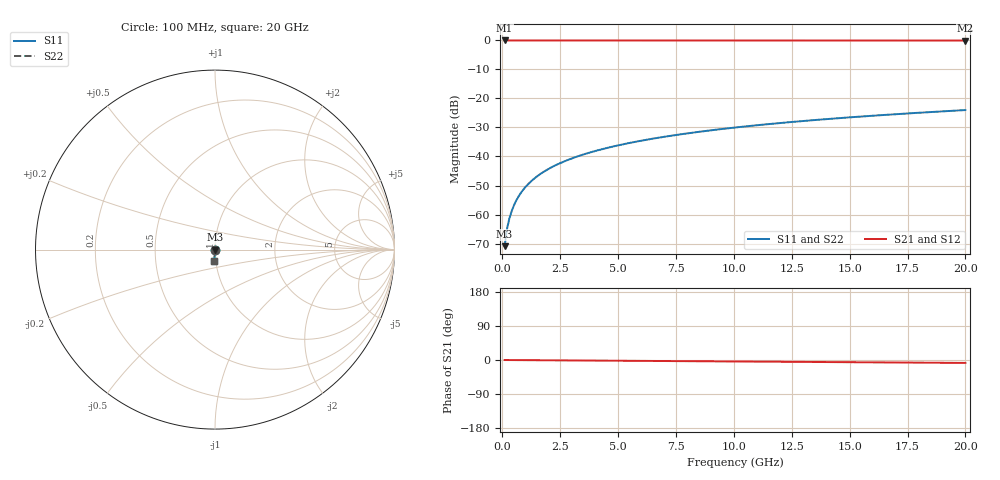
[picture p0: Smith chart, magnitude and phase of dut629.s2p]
! Touchstone file exported from HFSS 2026.1.0
!  File:  C:/ffzhzh/LocalFiles/Ansys_Project_Files/temp_train_TSV_629_1783026151_51716.aedt
!  Generated:  05:04:05 AM Jul  3, 2026
!  Design:  TSV
!  Project:  temp_train_TSV_629_1783026151_51716
! Variables:
!  h_bsmrdl = 2um
!  h_ox = 20um
!  h_rdl = 5um
!  h_sub = 71.3um
!  h_tmrdl = 5um
!  h_tsv = 71.3um
!  h_via = 3um
!  l_bsmrdl = 300um
!  l_sub = 426.28um
!  l_tmrdl = 200um
!  m_sub = 200um
!  pitch = 35.35um
!  r_tsv = 13.14um
!  s_tmrdl = 10um
!  w_bsmrdl = 18um
!  w_sub = 500um
!  w_tmrdl = 12um
!  x_tsv_center1 = 206um
!  x_tsv_center2 = 524um
!  x_tsv_center3 = 736um
!  x_tsv_center4 = 1054um
!  x_tsv_center5 = 1266um
!  x_tsv_center6 = 1584um
# GHz S MA R 50.000000
! Terminal data exported
! Port[1] = TSV1_1_T1
! Port[2] = TSV1_1_T2
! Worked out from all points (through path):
!   200 points, 100 MHz to 20 GHz, reference 50 ohm
!   highest |S21| = 0.00 dB at 100 MHz (marker M1); lowest = 0.0 dB at 20 GHz (marker M2)
!   group delay of S21, straight-line fit = 1.07 ps
!   lowest |S11| = -70.9 dB at 100 MHz (marker M3), VSWR 1.00, Z = 50 - j0.0271 ohm
!   |S11| at or under -10 dB: start of sweep to end of sweep
!   |S22| runs from -70.9 to -24.0 dB; largest |S21 - S12| = 3.2e-15
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0.1  0.0002847 -72.2  0.9999 -0.0  0.9999 -0.0  0.0002847 -72.2
! Gamma 0 0 0 0
! Port Impedance 50 0 50 0
0.2  0.0005559 -79.5  0.9999 -0.1  0.9999 -0.1  0.0005559 -79.5
0.3  0.0008382 -81.6  0.9999 -0.1  0.9999 -0.1  0.0008382 -81.6
0.4  0.001129 -82.5  0.9998 -0.2  0.9998 -0.2  0.001129 -82.5
0.5  0.001427 -83.1  0.9998 -0.2  0.9998 -0.2  0.001427 -83.1
0.7  0.002039 -84.0  0.9998 -0.3  0.9998 -0.3  0.002039 -84.0
0.8  0.00235 -84.4  0.9998 -0.3  0.9998 -0.3  0.00235 -84.4
1  0.002975 -85.1  0.9997 -0.4  0.9997 -0.4  0.002975 -85.1
1.2  0.003603 -85.7  0.9997 -0.5  0.9997 -0.5  0.003603 -85.7
1.4  0.004231 -86.2  0.9997 -0.6  0.9997 -0.6  0.004231 -86.2
1.7  0.005172 -86.8  0.9996 -0.7  0.9996 -0.7  0.005172 -86.8
2  0.006114 -87.3  0.9996 -0.8  0.9996 -0.8  0.006114 -87.3
2.7  0.008309 -88.2  0.9995 -1.1  0.9995 -1.1  0.008309 -88.2
3.5  0.01082 -88.9  0.9995 -1.4  0.9995 -1.4  0.01082 -88.9
4.2  0.01303 -89.4  0.9994 -1.6  0.9994 -1.6  0.01303 -89.4
5  0.01555 -89.9  0.9993 -1.9  0.9993 -1.9  0.01555 -89.9
6.8  0.02125 -90.8  0.9991 -2.6  0.9991 -2.6  0.02125 -90.8
8.3  0.02601 -91.6  0.9989 -3.2  0.9989 -3.2  0.02601 -91.6
10.1  0.03173 -92.4  0.9987 -3.9  0.9987 -3.9  0.03173 -92.4
13.4  0.0422 -93.9  0.9982 -5.2  0.9982 -5.2  0.0422 -93.9
16.7  0.05266 -95.3  0.9976 -6.5  0.9976 -6.5  0.05266 -95.3
20  0.0631 -96.7  0.9968 -7.7  0.9968 -7.7  0.0631 -96.7
